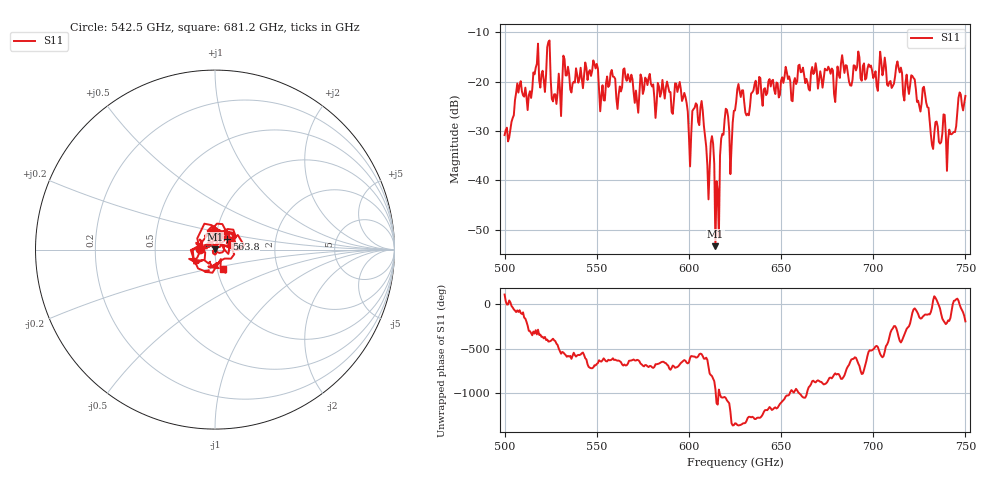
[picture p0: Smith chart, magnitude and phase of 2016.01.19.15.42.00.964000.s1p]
!Created with skrf (http://scikit-rf.org).
# GHz S RI R 50.0
!freq ReS11 ImS11
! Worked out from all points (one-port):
!   401 points, 500 GHz to 750 GHz, reference 50 ohm
!   lowest |S11| = -53.3 dB at 614.4 GHz (marker M1), VSWR 1.00, Z = 49.9 + j0.181 ohm
!   |S11| at or under -10 dB: start of sweep to end of sweep
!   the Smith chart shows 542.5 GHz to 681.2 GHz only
!   S11 on the Smith chart (normalised r, x): 542.5 GHz: 0.84, +0.01; 563.8 GHz: 1.13, +0.14; 681.2 GHz: 1.07, -0.23
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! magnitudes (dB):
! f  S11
! 500 GHz  -30.8
! 507.5 GHz  -22.2
! 513.8 GHz  -22.0
! 516.9 GHz  -17.2
! 520.6 GHz  -17.8
! 523.8 GHz  -12.0
! 526.9 GHz  -22.6
! 531.2 GHz  -20.3
! 542.5 GHz  -21.3
! 562.5 GHz  -21.0
! 563.8 GHz  -21.1
! 593.8 GHz  -22.1
! 600.6 GHz  -37.2
! 607.5 GHz  -25.9
! 610 GHz  -37.0
! 612.5 GHz  -31.0
! 614.4 GHz  -53.3
! 615.6 GHz  -41.9
! 619.4 GHz  -27.7
! 623.1 GHz  -33.2
! 625 GHz  -25.9
! 656.2 GHz  -24.0
! 681.2 GHz  -18.6
! 687.5 GHz  -20.8
! 705 GHz  -18.7
! 718.8 GHz  -21.0
! 740.6 GHz  -31.7
! 750 GHz  -22.9
